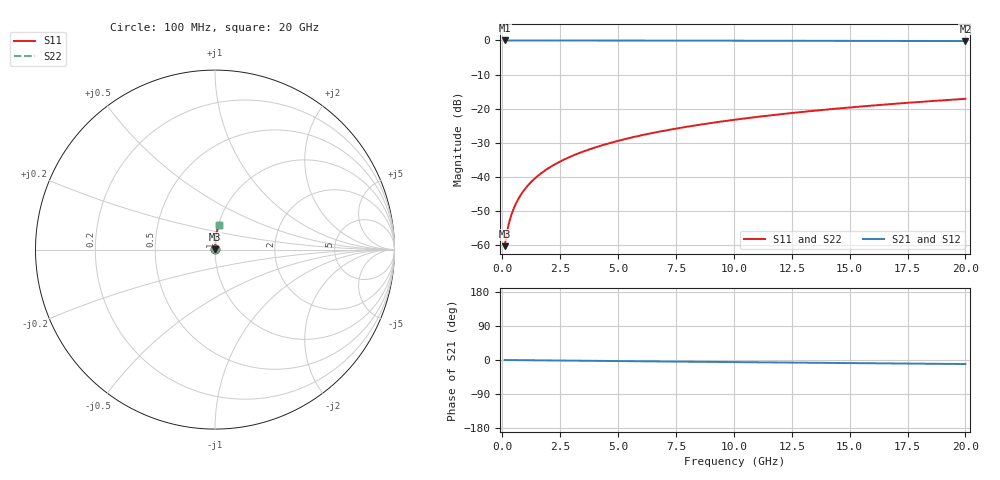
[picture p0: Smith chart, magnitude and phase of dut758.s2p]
! Touchstone file exported from HFSS 2024.1.0
!  File:  C:/UserFiles/LocalFiles/RDL_TSV_Batchsim/temp_RDL_top_758_1779852123.aedt
!  Generated:  11:24:25 AM May 27, 2026
!  Design:  RDL_top
!  Project:  temp_RDL_top_758_1779852123
!  Setup:  Setup1
!  Solution:  Sweep
! Variables:
!  dtsv = 10.80580581um
!  hbump = 3um
!  htsv = 64.61um
!  ldown = 100um
!  lrdl = 109.13um
!  p = 40
!  p1 = 48.57um
!  rhole = 1um
!  t = 450um
!  tdown = 3.915915916um
!  trdl = 4.91um
!  wdown = 15.38538539um
!  wrdl = 14.66um
# GHz S MA R 50.000000
! Terminal data exported
! Port[1] = Box2_T1
! Port[2] = Box2_T2
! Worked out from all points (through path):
!   200 points, 100 MHz to 20 GHz, reference 50 ohm
!   highest |S21| = -0.01 dB at 100 MHz (marker M1); lowest = -0.2 dB at 20 GHz (marker M2)
!   group delay of S21, straight-line fit = 1.47 ps
!   lowest |S11| = -60.3 dB at 100 MHz (marker M3), VSWR 1.00, Z = 50.1 + j0.0701 ohm
!   |S11| at or under -10 dB: start of sweep to end of sweep
!   |S22| runs from -60.3 to -17.1 dB; largest |S21 - S12| = 2.6e-15
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0.1  0.0009661 46.4  0.9993 -0.1  0.9993 -0.1  0.0009661 46.4
! Gamma 0 0 0 0
! Port Impedance 50 0 50 0
0.2  0.001549 63.7  0.9993 -0.1  0.9993 -0.1  0.001549 63.7
0.3  0.002184 71.1  0.9993 -0.2  0.9993 -0.2  0.002184 71.1
0.4  0.002831 75.2  0.9993 -0.2  0.9993 -0.2  0.002831 75.2
0.5  0.003483 77.8  0.9992 -0.3  0.9992 -0.3  0.003483 77.8
0.7  0.004799 80.9  0.9992 -0.4  0.9992 -0.4  0.004799 80.9
0.8  0.00546 81.9  0.9992 -0.5  0.9992 -0.5  0.00546 81.9
1  0.006787 83.4  0.9991 -0.6  0.9991 -0.6  0.006787 83.4
1.2  0.008119 84.4  0.999 -0.7  0.999 -0.7  0.008119 84.4
1.4  0.009454 85.0  0.999 -0.8  0.999 -0.8  0.009454 85.0
1.7  0.01146 85.8  0.9989 -1.0  0.9989 -1.0  0.01146 85.8
2  0.01347 86.3  0.9987 -1.2  0.9987 -1.2  0.01347 86.3
2.7  0.01817 86.9  0.9983 -1.6  0.9983 -1.6  0.01817 86.9
3.5  0.02357 87.3  0.9977 -2.0  0.9977 -2.0  0.02357 87.3
4.2  0.02831 87.4  0.9972 -2.4  0.9972 -2.4  0.02831 87.4
5  0.03377 87.5  0.9964 -2.9  0.9964 -2.9  0.03377 87.5
6.8  0.04616 87.2  0.9946 -3.9  0.9946 -3.9  0.04616 87.2
8.3  0.05663 86.9  0.993 -4.7  0.993 -4.7  0.05663 86.9
10.1  0.06932 86.2  0.9911 -5.6  0.9911 -5.6  0.06932 86.2
13.4  0.09277 84.7  0.9873 -7.3  0.9873 -7.3  0.09277 84.7
16.7  0.1162 83.0  0.9835 -9.0  0.9835 -9.0  0.1162 83.0
20  0.1394 81.2  0.9793 -10.7  0.9793 -10.7  0.1394 81.2
